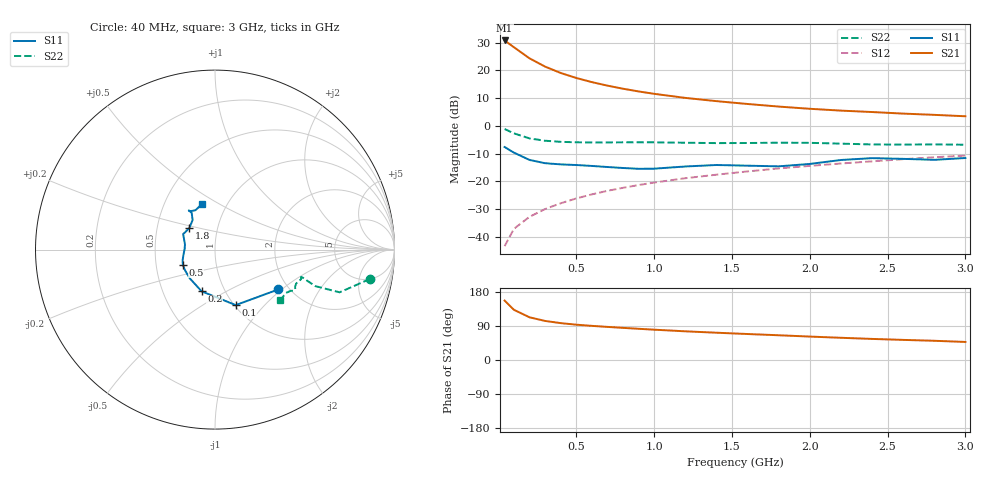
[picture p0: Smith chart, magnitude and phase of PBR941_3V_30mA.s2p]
! Filename:  PBR941H.S2P  Version:  3.0
! Philips part #:  PBR941  Date: July 1998
! Bias condition:  Vce=3V, Ic=30mA
#  MHz  S  MA  R 50
! Freq  S11  S21  S12  S22
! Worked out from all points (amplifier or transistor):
!   21 points, 40 MHz to 3 GHz, reference 50 ohm
!   highest |S21| = 30.8 dB at 40 MHz (marker M1)
!   |S21| within 3 dB of that: start of sweep to 114 MHz
!   unconditionally stable (mu >= 1): 306.6 MHz to 2.554 GHz
!   at 300 MHz: K = 1.00, MSG = 25.6 dB, |S12| = -29.9 dB
!   at 1 GHz: K = 1.10, MAG = 14.1 dB, |S12| = -20.4 dB
!   at 3 GHz: K = 0.99, MSG = 7.1 dB, |S12| = -10.7 dB
!   S11 on the Smith chart (normalised r, x): 40 MHz: 1.76, -0.95; 100 MHz: 1.01, -0.70; 200 MHz: 0.78, -0.38; 500 MHz: 0.69, -0.12; 1.8 GHz: 0.73, +0.18; 3 GHz: 0.77, +0.42
40  0.4167 -32.2  34.49 156.9  0.006845 77.8  0.8788 -10.7
100  0.33 -69.6  26.04 132.4  0.01406 73.2  0.734 -18.9
200  0.244 -107.8  16.44 112.6  0.02313 72.5  0.5951 -20.0
300  0.2131 -131.2  11.67 103.1  0.03187 75.3  0.5406 -18.6
400  0.2029 -145.5  8.971 97.3  0.04049 77.4  0.5168 -17.8
500  0.1976 -155.0  7.289 93.2  0.04941 78.7  0.5065 -17.6
600  0.1903 -161.5  6.14 90.1  0.05851 79.7  0.5032 -17.7
700  0.182 -167.3  5.307 87.4  0.0678 80.7  0.504 -18.0
800  0.1747 -174.0  4.671 84.8  0.07682 80.9  0.5061 -18.4
900  0.169 178.2  4.172 82.4  0.0861 81.0  0.5068 -18.8
1000  0.1698 170.2  3.782 80.0  0.09553 81.0  0.5058 -19.3
1200  0.1859 159.2  3.192 75.7  0.1144 80.7  0.4981 -20.6
1400  0.1978 154.0  2.791 72.0  0.1324 80.3  0.49 -22.8
1600  0.1924 150.1  2.48 68.6  0.1515 80.1  0.4919 -24.9
1800  0.187 139.8  2.228 65.3  0.1714 79.6  0.4989 -26.4
2000  0.2065 127.2  2.032 61.8  0.1906 78.7  0.4956 -27.4
2200  0.2434 122.3  1.885 58.6  0.2104 77.7  0.4793 -28.7
2400  0.2629 123.8  1.777 55.6  0.2301 77.0  0.4635 -31.4
2600  0.2553 123.4  1.665 53.1  0.2517 76.3  0.461 -34.7
2800  0.245 116.3  1.58 50.7  0.2728 75.2  0.465 -36.9
3000  0.2642 105.8  1.491 47.6  0.2922 73.8  0.4584 -37.7
